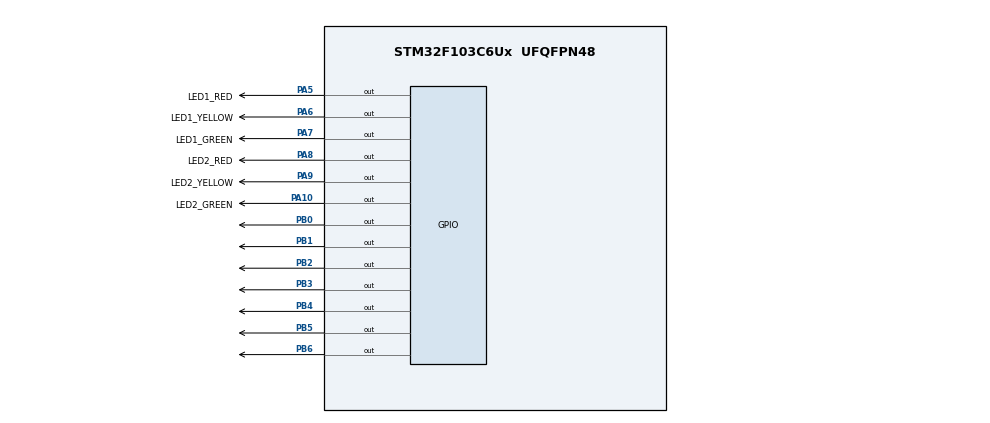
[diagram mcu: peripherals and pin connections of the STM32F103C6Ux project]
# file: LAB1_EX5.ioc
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Mcu.Family=STM32F1
Mcu.Name=STM32F103C6Ux
Mcu.Package=UFQFPN48
NVIC.PriorityGroup=NVIC_PRIORITYGROUP_4
PA10.GPIO_Label=LED2_GREEN
PA10.Signal=GPIO_Output
PA13.Mode=Serial_Wire
PA13.Signal=SYS_JTMS-SWDIO
PA14.Mode=Serial_Wire
PA14.Signal=SYS_JTCK-SWCLK
PA5.GPIO_Label=LED1_RED
PA5.Signal=GPIO_Output
PA6.GPIO_Label=LED1_YELLOW
PA6.Signal=GPIO_Output
PA7.GPIO_Label=LED1_GREEN
PA7.Signal=GPIO_Output
PA8.GPIO_Label=LED2_RED
PA8.Signal=GPIO_Output
PA9.GPIO_Label=LED2_YELLOW
PA9.Signal=GPIO_Output
PB0.Signal=GPIO_Output
PB1.Signal=GPIO_Output
PB2.Signal=GPIO_Output
PB3.Signal=GPIO_Output
PB4.Signal=GPIO_Output
PB5.Signal=GPIO_Output
PB6.Signal=GPIO_Output
ProjectManager.HeapSize=0x200
ProjectManager.StackSize=0x400
ProjectManager.TargetToolchain=STM32CubeIDE
RCC.APB1Freq_Value=8000000
RCC.APB2Freq_Value=8000000
board=custom

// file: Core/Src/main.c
/* USER CODE BEGIN Header */
/**
  ******************************************************************************
  * @file           : main.c
  * @brief          : Main program body
  ******************************************************************************
  * @attention
  *
  * <h2><center>&copy; Copyright (c) 2023 STMicroelectronics.
  * All rights reserved.</center></h2>
  *
  * This software component is licensed by ST under BSD 3-Clause license,
  * the "License"; You may not use this file except in compliance with the
  * License. You may obtain a copy of the License at:
  *                        opensource.org/licenses/BSD-3-Clause
  *
  ******************************************************************************
  */
/* USER CODE END Header */
#include "main.h"

void SystemClock_Config(void);
static void MX_GPIO_Init(void);

int main(void)
{

  /* MCU Configuration--------------------------------------------------------*/

  /* Reset of all peripherals, Initializes the Flash interface and the Systick. */
  HAL_Init();

  /* Configure the system clock */
  SystemClock_Config();

  /* Initialize all configured peripherals */
  MX_GPIO_Init();
  /* USER CODE BEGIN 2 */

  void display7SEG(int num){
  	  if(num == 0){
  		  HAL_GPIO_WritePin(GPIOB, GPIO_PIN_0, 0);
  		  HAL_GPIO_WritePin(GPIOB, GPIO_PIN_1, 0);
  		  HAL_GPIO_WritePin(GPIOB, GPIO_PIN_2, 0);
  		  HAL_GPIO_WritePin(GPIOB, GPIO_PIN_3, 0);
  		  HAL_GPIO_WritePin(GPIOB, GPIO_PIN_4, 0);
  		  HAL_GPIO_WritePin(GPIOB, GPIO_PIN_5, 0);
  		  HAL_GPIO_WritePin(GPIOB, GPIO_PIN_6, 1);
  	  }
  	  if(num == 1){
  		  HAL_GPIO_WritePin(GPIOB, GPIO_PIN_0, 1);
  		  HAL_GPIO_WritePin(GPIOB, GPIO_PIN_1, 0);
  		  HAL_GPIO_WritePin(GPIOB, GPIO_PIN_2, 0);
  		  HAL_GPIO_WritePin(GPIOB, GPIO_PIN_3, 1);
  		  HAL_GPIO_WritePin(GPIOB, GPIO_PIN_4, 1);
  		  HAL_GPIO_WritePin(GPIOB, GPIO_PIN_5, 1);
  		  HAL_GPIO_WritePin(GPIOB, GPIO_PIN_6, 1);
  	  }
  	  if(num == 2){
  		  HAL_GPIO_WritePin(GPIOB, GPIO_PIN_0, 0);
  		  HAL_GPIO_WritePin(GPIOB, GPIO_PIN_1, 0);
  		  HAL_GPIO_WritePin(GPIOB, GPIO_PIN_2, 1);
  		  HAL_GPIO_WritePin(GPIOB, GPIO_PIN_3, 0);
  		  HAL_GPIO_WritePin(GPIOB, GPIO_PIN_4, 0);
  		  HAL_GPIO_WritePin(GPIOB, GPIO_PIN_5, 1);
  		  HAL_GPIO_WritePin(GPIOB, GPIO_PIN_6, 0);
  	  }
  	  if(num == 3){
  		  HAL_GPIO_WritePin(GPIOB, GPIO_PIN_0, 0);
  		  HAL_GPIO_WritePin(GPIOB, GPIO_PIN_1, 0);
  		  HAL_GPIO_WritePin(GPIOB, GPIO_PIN_2, 0);
  		  HAL_GPIO_WritePin(GPIOB, GPIO_PIN_3, 0);
  		  HAL_GPIO_WritePin(GPIOB, GPIO_PIN_4, 1);
  		  HAL_GPIO_WritePin(GPIOB, GPIO_PIN_5, 1);
  		  HAL_GPIO_WritePin(GPIOB, GPIO_PIN_6, 0);
  	  }
  	  if(num == 4){
  		  HAL_GPIO_WritePin(GPIOB, GPIO_PIN_0, 1);
  		  HAL_GPIO_WritePin(GPIOB, GPIO_PIN_1, 0);
  		  HAL_GPIO_WritePin(GPIOB, GPIO_PIN_2, 0);
  		  HAL_GPIO_WritePin(GPIOB, GPIO_PIN_3, 1);
  		  HAL_GPIO_WritePin(GPIOB, GPIO_PIN_4, 1);
  		  HAL_GPIO_WritePin(GPIOB, GPIO_PIN_5, 0);
  		  HAL_GPIO_WritePin(GPIOB, GPIO_PIN_6, 0);
  	  }
  	  if(num == 5){
  		  HAL_GPIO_WritePin(GPIOB, GPIO_PIN_0, 0);
  		  HAL_GPIO_WritePin(GPIOB, GPIO_PIN_1, 1);
  		  HAL_GPIO_WritePin(GPIOB, GPIO_PIN_2, 0);
  		  HAL_GPIO_WritePin(GPIOB, GPIO_PIN_3, 0);
  		  HAL_GPIO_WritePin(GPIOB, GPIO_PIN_4, 1);
  		  HAL_GPIO_WritePin(GPIOB, GPIO_PIN_5, 0);
  		  HAL_GPIO_WritePin(GPIOB, GPIO_PIN_6, 0);
  	  }
  	  if(num == 6){
  		  HAL_GPIO_WritePin(GPIOB, GPIO_PIN_0, 0);
  		  HAL_GPIO_WritePin(GPIOB, GPIO_PIN_1, 1);
  		  HAL_GPIO_WritePin(GPIOB, GPIO_PIN_2, 0);
  		  HAL_GPIO_WritePin(GPIOB, GPIO_PIN_3, 0);
  		  HAL_GPIO_WritePin(GPIOB, GPIO_PIN_4, 0);
  		  HAL_GPIO_WritePin(GPIOB, GPIO_PIN_5, 0);
  		  HAL_GPIO_WritePin(GPIOB, GPIO_PIN_6, 0);
  	  }
  	  if(num == 7){
  		  HAL_GPIO_WritePin(GPIOB, GPIO_PIN_0, 0);
  		  HAL_GPIO_WritePin(GPIOB, GPIO_PIN_1, 0);
  		  HAL_GPIO_WritePin(GPIOB, GPIO_PIN_2, 0);
  		  HAL_GPIO_WritePin(GPIOB, GPIO_PIN_3, 1);
  		  HAL_GPIO_WritePin(GPIOB, GPIO_PIN_4, 1);
  		  HAL_GPIO_WritePin(GPIOB, GPIO_PIN_5, 1);
  		  HAL_GPIO_WritePin(GPIOB, GPIO_PIN_6, 1);
  	  }
  	  if(num == 8){
  		  HAL_GPIO_WritePin(GPIOB, GPIO_PIN_0, 0);
  		  HAL_GPIO_WritePin(GPIOB, GPIO_PIN_1, 0);
  		  HAL_GPIO_WritePin(GPIOB, GPIO_PIN_2, 0);
  		  HAL_GPIO_WritePin(GPIOB, GPIO_PIN_3, 0);
  		  HAL_GPIO_WritePin(GPIOB, GPIO_PIN_4, 0);
  		  HAL_GPIO_WritePin(GPIOB, GPIO_PIN_5, 0);
  		  HAL_GPIO_WritePin(GPIOB, GPIO_PIN_6, 0);
  	  }
  	  if(num == 9){
  		  HAL_GPIO_WritePin(GPIOB, GPIO_PIN_0, 0);
  		  HAL_GPIO_WritePin(GPIOB, GPIO_PIN_1, 0);
  		  HAL_GPIO_WritePin(GPIOB, GPIO_PIN_2, 0);
  		  HAL_GPIO_WritePin(GPIOB, GPIO_PIN_3, 0);
  		  HAL_GPIO_WritePin(GPIOB, GPIO_PIN_4, 1);
  		  HAL_GPIO_WritePin(GPIOB, GPIO_PIN_5, 0);
  		  HAL_GPIO_WritePin(GPIOB, GPIO_PIN_6, 0);
  	  }

    }

  /* USER CODE END 2 */

  /* Infinite loop */
  /* USER CODE BEGIN WHILE */
  	int led1_status = 0;
    int led2_status = 2;
    int count1 = 5;
    int count2 = 3;

    while (1)
    {
  	  // Traffic light North and South
    	display7SEG(count1);
  	  if(led1_status == 0){
  		  HAL_GPIO_WritePin(LED1_RED_GPIO_Port, LED1_RED_Pin, RESET);
  		  HAL_GPIO_WritePin(LED1_YELLOW_GPIO_Port, LED1_YELLOW_Pin, SET);
  		  HAL_GPIO_WritePin(LED1_GREEN_GPIO_Port, LED1_GREEN_Pin, SET);
  		  count1 = count1 - 1;
  		  if(count1 <= 0){
  			  led1_status = 2;
  			  count1 = 3;
  		  }
  	  }
  	  else if(led1_status == 1){
  		  HAL_GPIO_WritePin(LED1_RED_GPIO_Port, LED1_RED_Pin, SET);
  		  HAL_GPIO_WritePin(LED1_YELLOW_GPIO_Port, LED1_YELLOW_Pin, RESET);
  		  HAL_GPIO_WritePin(LED1_GREEN_GPIO_Port, LED1_GREEN_Pin, SET);
  		  count1 = count1 - 1;
  		  if(count1 <= 0){
  			  led1_status = 0;
  			  count1 = 5;
  		  }
  	  }
  	  else{
  		  HAL_GPIO_WritePin(LED1_RED_GPIO_Port, LED1_RED_Pin, SET);
  		  HAL_GPIO_WritePin(LED1_YELLOW_GPIO_Port, LED1_YELLOW_Pin, SET);
  		  HAL_GPIO_WritePin(LED1_GREEN_GPIO_Port, LED1_GREEN_Pin, RESET);
  		  count1 = count1 - 1;
  		  if(count1 <= 0){
  			  led1_status = 1;
  			  count1 = 2;
  		  }
  	  }

  	  // Traffic light East and West
  	  if(led2_status == 0){
  		  HAL_GPIO_WritePin(LED2_RED_GPIO_Port, LED2_RED_Pin, RESET);
  		  HAL_GPIO_WritePin(LED2_YELLOW_GPIO_Port, LED2_YELLOW_Pin, SET);
  		  HAL_GPIO_WritePin(LED2_GREEN_GPIO_Port, LED2_GREEN_Pin, SET);
  		  count2 = count2 - 1;
  		  if(count2 <= 0){
  			  led2_status = 2;
  			  count2 = 3;
  		  }
  	  }
  	  else if(led2_status == 1){
  		  HAL_GPIO_WritePin(LED2_RED_GPIO_Port, LED2_RED_Pin, SET);
  		  HAL_GPIO_WritePin(LED2_YELLOW_GPIO_Port, LED2_YELLOW_Pin, RESET);
  		  HAL_GPIO_WritePin(LED2_GREEN_GPIO_Port, LED2_GREEN_Pin, SET);
  		  count2 = count2 - 1;
  		  if(count2 <= 0){
  			  led2_status = 0;
  			  count2 = 5;
  		  }
  	  }
  	  else{
  		  HAL_GPIO_WritePin(LED2_RED_GPIO_Port, LED2_RED_Pin, SET);
  		  HAL_GPIO_WritePin(LED2_YELLOW_GPIO_Port, LED2_YELLOW_Pin, SET);
  		  HAL_GPIO_WritePin(LED2_GREEN_GPIO_Port, LED2_GREEN_Pin, RESET);
  		  count2 = count2 - 1;
  		  if(count2 <= 0){
  			  led2_status = 1;
  			  count2 = 2;
  		  }
  	  }

  	  HAL_Delay(1000);
    /* USER CODE END WHILE */

  }
}

void SystemClock_Config(void)
{
  RCC_OscInitTypeDef RCC_OscInitStruct = {0};
  RCC_ClkInitTypeDef RCC_ClkInitStruct = {0};

  /** Initializes the RCC Oscillators according to the specified parameters
  * in the RCC_OscInitTypeDef structure.
  */
  RCC_OscInitStruct.OscillatorType = RCC_OSCILLATORTYPE_HSI;
  RCC_OscInitStruct.HSIState = RCC_HSI_ON;
  RCC_OscInitStruct.HSICalibrationValue = RCC_HSICALIBRATION_DEFAULT;
  RCC_OscInitStruct.PLL.PLLState = RCC_PLL_NONE;
  if (HAL_RCC_OscConfig(&RCC_OscInitStruct) != HAL_OK)
  {
    Error_Handler();
  }
  /** Initializes the CPU, AHB and APB buses clocks
  */
  RCC_ClkInitStruct.ClockType = RCC_CLOCKTYPE_HCLK|RCC_CLOCKTYPE_SYSCLK
                              |RCC_CLOCKTYPE_PCLK1|RCC_CLOCKTYPE_PCLK2;
  RCC_ClkInitStruct.SYSCLKSource = RCC_SYSCLKSOURCE_HSI;
  RCC_ClkInitStruct.AHBCLKDivider = RCC_SYSCLK_DIV1;
  RCC_ClkInitStruct.APB1CLKDivider = RCC_HCLK_DIV1;
  RCC_ClkInitStruct.APB2CLKDivider = RCC_HCLK_DIV1;

  if (HAL_RCC_ClockConfig(&RCC_ClkInitStruct, FLASH_LATENCY_0) != HAL_OK)
  {
    Error_Handler();
  }
}

static void MX_GPIO_Init(void)
{
  GPIO_InitTypeDef GPIO_InitStruct = {0};

  /* GPIO Ports Clock Enable */
  __HAL_RCC_GPIOA_CLK_ENABLE();
  __HAL_RCC_GPIOB_CLK_ENABLE();

  /*Configure GPIO pin Output Level */
  HAL_GPIO_WritePin(GPIOA, LED1_RED_Pin|LED1_YELLOW_Pin|LED1_GREEN_Pin|LED2_RED_Pin
                          |LED2_YELLOW_Pin|LED2_GREEN_Pin, GPIO_PIN_RESET);

  /*Configure GPIO pin Output Level */
  HAL_GPIO_WritePin(GPIOB, GPIO_PIN_0|GPIO_PIN_1|GPIO_PIN_2|GPIO_PIN_3
                          |GPIO_PIN_4|GPIO_PIN_5|GPIO_PIN_6, GPIO_PIN_RESET);

  /*Configure GPIO pins : LED1_RED_Pin LED1_YELLOW_Pin LED1_GREEN_Pin LED2_RED_Pin
                           LED2_YELLOW_Pin LED2_GREEN_Pin */
  GPIO_InitStruct.Pin = LED1_RED_Pin|LED1_YELLOW_Pin|LED1_GREEN_Pin|LED2_RED_Pin
                          |LED2_YELLOW_Pin|LED2_GREEN_Pin;
  GPIO_InitStruct.Mode = GPIO_MODE_OUTPUT_PP;
  GPIO_InitStruct.Pull = GPIO_NOPULL;
  GPIO_InitStruct.Speed = GPIO_SPEED_FREQ_LOW;
  HAL_GPIO_Init(GPIOA, &GPIO_InitStruct);

  /*Configure GPIO pins : PB0 PB1 PB2 PB3
                           PB4 PB5 PB6 */
  GPIO_InitStruct.Pin = GPIO_PIN_0|GPIO_PIN_1|GPIO_PIN_2|GPIO_PIN_3
                          |GPIO_PIN_4|GPIO_PIN_5|GPIO_PIN_6;
  GPIO_InitStruct.Mode = GPIO_MODE_OUTPUT_PP;
  GPIO_InitStruct.Pull = GPIO_NOPULL;
  GPIO_InitStruct.Speed = GPIO_SPEED_FREQ_LOW;
  HAL_GPIO_Init(GPIOB, &GPIO_InitStruct);

}

void Error_Handler(void)
{
  __disable_irq();
  while (1)
  {
  }
}

/************************ (C) COPYRIGHT STMicroelectronics *****END OF FILE****/
